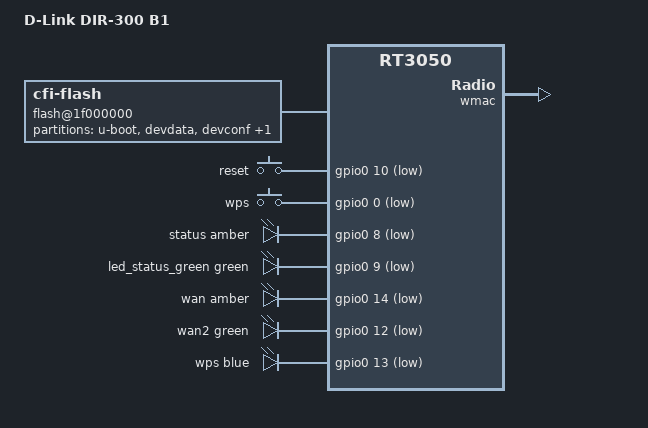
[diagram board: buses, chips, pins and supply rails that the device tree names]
#include "rt3050.dtsi"

#include <dt-bindings/gpio/gpio.h>
#include <dt-bindings/input/input.h>
#include <dt-bindings/leds/common.h>

/ {
	compatible = "dlink,dir-300-b1", "ralink,rt3050-soc";
	model = "D-Link DIR-300 B1";

	aliases {
		led-boot = &led_status_green;
		led-failsafe = &led_status_green;
		led-running = &led_status_green;
		led-upgrade = &led_status_green;
	};

	flash@1f000000 {
		compatible = "cfi-flash";
		reg = <0x1f000000 0x800000>;
		bank-width = <2>;
		device-width = <2>;

		partitions {
			compatible = "fixed-partitions";
			#address-cells = <1>;
			#size-cells = <1>;

			partition@0 {
				label = "u-boot";
				reg = <0x0 0x30000>;
				read-only;
			};

			partition@30000 {
				label = "devdata";
				reg = <0x30000 0x10000>;
				read-only;

				nvmem-layout {
					compatible = "fixed-layout";
					#address-cells = <1>;
					#size-cells = <1>;

					eeprom_devdata_4000: eeprom@4000 {
						reg = <0x4000 0x200>;
					};

					macaddr_devdata_4004: macaddr@4004 {
						reg = <0x4004 0x6>;
					};
				};
			};

			partition@40000 {
				label = "devconf";
				reg = <0x40000 0x10000>;
				read-only;
			};

			partition@50000 {
				compatible = "denx,uimage";
				label = "firmware";
				reg = <0x50000 0x3b0000>;
			};
		};
	};

	keys {
		compatible = "gpio-keys-polled";
		poll-interval = <20>;

		reset {
			label = "reset";
			gpios = <&gpio0 10 GPIO_ACTIVE_LOW>;
			linux,code = <KEY_RESTART>;
		};

		wps {
			label = "wps";
			gpios = <&gpio0 0 GPIO_ACTIVE_LOW>;
			linux,code = <KEY_WPS_BUTTON>;
		};
	};

	leds {
		compatible = "gpio-leds";

		status {
			function = LED_FUNCTION_STATUS;
			color = <LED_COLOR_ID_AMBER>;
			gpios = <&gpio0 8 GPIO_ACTIVE_LOW>;
		};

		led_status_green: status2 {
			function = LED_FUNCTION_STATUS;
			color = <LED_COLOR_ID_GREEN>;
			gpios = <&gpio0 9 GPIO_ACTIVE_LOW>;
		};

		wan {
			function = LED_FUNCTION_WAN;
			color = <LED_COLOR_ID_AMBER>;
			gpios = <&gpio0 14 GPIO_ACTIVE_LOW>;
		};

		wan2 {
			function = LED_FUNCTION_WAN;
			color = <LED_COLOR_ID_GREEN>;
			gpios = <&gpio0 12 GPIO_ACTIVE_LOW>;
		};

		wps {
			function = LED_FUNCTION_WPS;
			color = <LED_COLOR_ID_BLUE>;
			gpios = <&gpio0 13 GPIO_ACTIVE_LOW>;
		};
	};
};

&state_default {
	gpio {
		groups = "i2c", "spi", "jtag", "mdio", "rgmii", "uartf";
		function = "gpio";
	};
};

&ethernet {
	nvmem-cells = <&macaddr_devdata_4004>;
	nvmem-cell-names = "mac-address";
};

&esw {
	mediatek,portmap = <0x2f>;
};

&wmac {
	nvmem-cells = <&eeprom_devdata_4000>;
	nvmem-cell-names = "eeprom";
};
